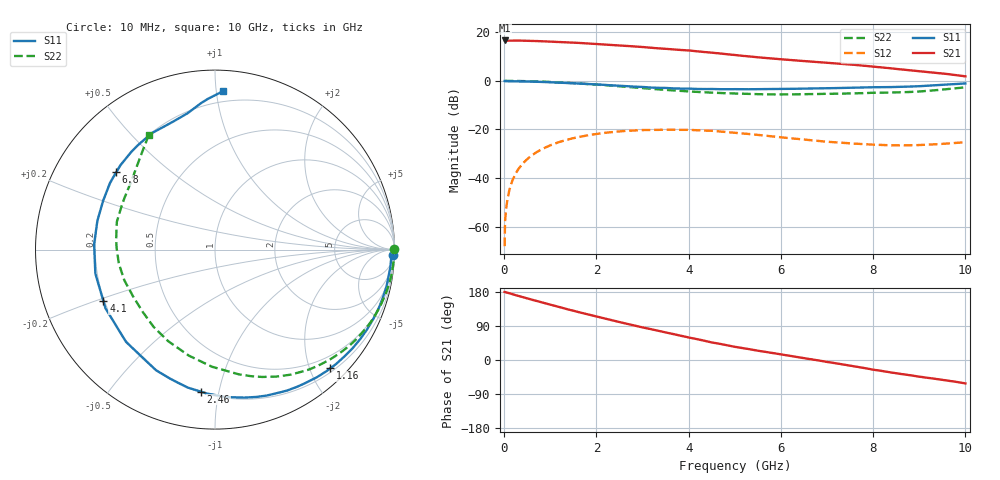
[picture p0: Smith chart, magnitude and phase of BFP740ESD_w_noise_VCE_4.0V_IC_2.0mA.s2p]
! Infineon Technologies  Discrete & RF Semiconductors
! BFP740ESD
! VCE =  4.0 V,  IC =  2.0 mA
! Common Emitter S-Parameters:  Jan 2016
# GHz  S  MA  R  50
!  f  S11  S21  S12  S22
! GHz  MAG  ANG  MAG  ANG  MAG  ANG  MAG  ANG
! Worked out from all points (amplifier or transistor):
!   233 points, 10 MHz to 10 GHz, reference 50 ohm
!   highest |S21| = 16.6 dB at 10 MHz (marker M1)
!   |S21| within 3 dB of that: start of sweep to 3.181 GHz
!   unconditionally stable (mu >= 1): start of sweep to 10.09 MHz; 6.838 GHz to 9.535 GHz
!   at 200 MHz: K = 0.04, MSG = 28.3 dB, |S12| = -40.1 dB
!   at 1.74 GHz: K = 0.17, MSG = 19.0 dB, |S12| = -22.6 dB
!   at 10 GHz: K = 0.59, MSG = 13.5 dB, |S12| = -25.2 dB
!   lowest NFmin = 0.52 dB at 450 MHz
!   S11 on the Smith chart (normalised r, x): 10 MHz: 24, -63; 1.16 GHz: 0.27, -2.34; 2.46 GHz: 0.21, -0.89; 4.1 GHz: 0.20, -0.21; 6.8 GHz: 0.20, +0.33; 10 GHz: 0.13, +1.04
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0.01  0.9895 -1.6  6.756 179.6  0.0004 7.6  0.9952 0.2
0.02  0.9835 -0.9  6.684 179.5  0.0013 77.6  0.9983 -0.6
0.07  0.9829 -3.0  6.708 177.4  0.0036 83.3  0.9978 -2.0
0.14  0.9816 -5.6  6.739 175.2  0.007 84.0  0.9968 -3.9
0.24  0.9786 -9.4  6.716 171.5  0.0119 81.9  0.9946 -6.7
0.7  0.9569 -27.7  6.589 156.0  0.034 69.2  0.9716 -19.5
1.16  0.9221 -45.8  6.326 140.9  0.0538 56.2  0.9329 -32.1
1.4  0.8996 -55.3  6.163 133.0  0.0629 49.5  0.9077 -38.6
1.68  0.873 -65.9  5.969 124.4  0.0721 42.1  0.8763 -45.8
2.04  0.8381 -79.5  5.688 113.6  0.0818 33.1  0.8337 -54.8
2.46  0.7954 -95.6  5.378 101.3  0.0907 22.8  0.7782 -65.5
2.98  0.7492 -115.3  4.966 86.6  0.0971 10.6  0.7103 -78.6
3.4  0.7152 -130.3  4.621 75.4  0.0985 1.8  0.6615 -88.8
4.1  0.685 -155.1  4.113 57.1  0.0972 -11.6  0.5987 -106.4
4.5  0.6798 -168.7  3.81 46.4  0.094 -19.2  0.5731 -117.1
5.1  0.6723 175.2  3.32 32.9  0.0844 -27.8  0.5447 -130.6
6  0.6801 156.4  2.777 14.6  0.069 -35.8  0.5256 -150.1
6.8  0.699 142.0  2.423 -0.9  0.0584 -36.8  0.536 -167.5
7.6  0.723 126.6  2.129 -16.9  0.0512 -33.7  0.5536 174.1
8.4  0.7444 110.9  1.797 -33.1  0.0473 -27.7  0.5747 154.6
9.2  0.7963 98.3  1.513 -47.2  0.0489 -20.4  0.6233 135.7
10  0.8836 87.1  1.236 -61.7  0.0548 -17.6  0.7369 120.1
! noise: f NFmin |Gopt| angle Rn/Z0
0.45  0.52  0.67  7  0.22
0.9  0.55  0.67  18  0.22
1.9  0.63  0.57  42  0.18
2.4  0.73  0.51  59  0.2
5.5  1.22  0.38  165  0.09
10  2.98  0.7  -98  1.03
